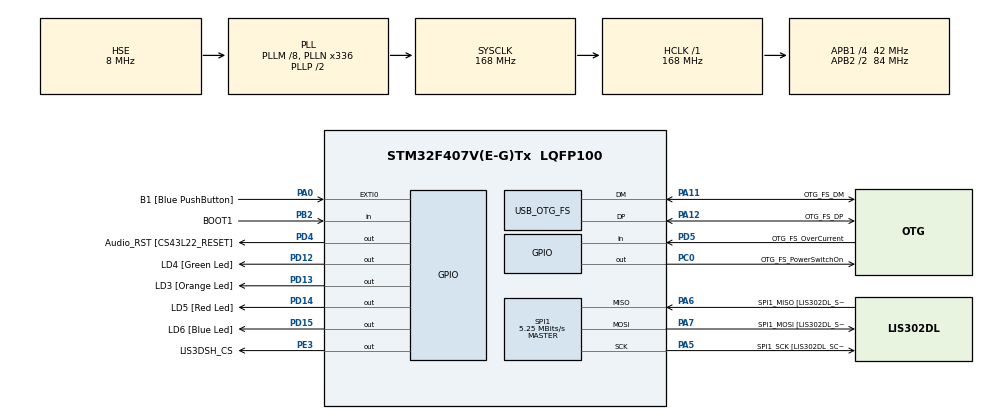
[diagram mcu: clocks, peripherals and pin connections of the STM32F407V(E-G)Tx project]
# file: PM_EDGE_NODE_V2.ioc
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Mcu.Family=STM32F4
Mcu.Name=STM32F407V(E-G)Tx
Mcu.Package=LQFP100
NVIC.OTG_FS_IRQn=true\:0\:0\:false\:false\:true\:false\:true\:true
NVIC.PriorityGroup=NVIC_PRIORITYGROUP_0
NVIC.TIM2_IRQn=true\:0\:0\:false\:false\:true\:true\:true\:true
PA0-WKUP.GPIO_Label=B1 [Blue PushButton]
PA0-WKUP.GPIO_ModeDefaultEXTI=GPIO_MODE_EVT_RISING
PA0-WKUP.GPIO_PuPd=GPIO_NOPULL
PA0-WKUP.Signal=GPXTI0
PA10.GPIO_Label=OTG_FS_ID
PA10.GPIO_Mode=GPIO_MODE_AF_PP
PA10.GPIO_PuPd=GPIO_NOPULL
PA10.GPIO_Speed=GPIO_SPEED_FREQ_LOW
PA10.Signal=USB_OTG_FS_ID
PA11.GPIO_Label=OTG_FS_DM
PA11.GPIO_Mode=GPIO_MODE_AF_PP
PA11.GPIO_PuPd=GPIO_NOPULL
PA11.GPIO_Speed=GPIO_SPEED_FREQ_LOW
PA11.Mode=Device_Only
PA11.Signal=USB_OTG_FS_DM
PA12.GPIO_Label=OTG_FS_DP
PA12.GPIO_Mode=GPIO_MODE_AF_PP
PA12.GPIO_PuPd=GPIO_NOPULL
PA12.GPIO_Speed=GPIO_SPEED_FREQ_LOW
PA12.Mode=Device_Only
PA12.Signal=USB_OTG_FS_DP
PA13.GPIO_Label=SWDIO
PA13.Mode=Serial_Wire
PA13.Signal=SYS_JTMS-SWDIO
PA14.GPIO_Label=SWCLK
PA14.Mode=Serial_Wire
PA14.Signal=SYS_JTCK-SWCLK
PA4.GPIO_Label=I2S3_WS [CS43L22_LRCK]
PA4.GPIO_Mode=GPIO_MODE_AF_PP
PA4.GPIO_PuPd=GPIO_NOPULL
PA4.GPIO_Speed=GPIO_SPEED_FREQ_LOW
PA4.Signal=I2S3_WS
PA5.GPIO_Label=SPI1_SCK [LIS302DL_SCL/SPC]
PA5.GPIO_Mode=GPIO_MODE_AF_PP
PA5.GPIO_PuPd=GPIO_NOPULL
PA5.GPIO_Speed=GPIO_SPEED_FREQ_LOW
PA5.Mode=Full_Duplex_Master
PA5.Signal=SPI1_SCK
PA6.GPIO_Label=SPI1_MISO [LIS302DL_SDO]
PA6.GPIO_Mode=GPIO_MODE_AF_PP
PA6.GPIO_PuPd=GPIO_NOPULL
PA6.GPIO_Speed=GPIO_SPEED_FREQ_LOW
PA6.Mode=Full_Duplex_Master
PA6.Signal=SPI1_MISO
PA7.GPIO_Label=SPI1_MOSI [LIS302DL_SDA/SDI/SDO]
PA7.GPIO_Mode=GPIO_MODE_AF_PP
PA7.GPIO_PuPd=GPIO_NOPULL
PA7.GPIO_Speed=GPIO_SPEED_FREQ_LOW
PA7.Mode=Full_Duplex_Master
PA7.Signal=SPI1_MOSI
PA9.GPIO_Label=VBUS_FS
PA9.GPIO_Mode=GPIO_MODE_INPUT
PA9.GPIO_PuPd=GPIO_NOPULL
PA9.Signal=USB_OTG_FS_VBUS
PB10.GPIO_Label=CLK_IN [MP45DT02_CLK]
PB10.GPIO_Mode=GPIO_MODE_AF_PP
PB10.GPIO_PuPd=GPIO_NOPULL
PB10.GPIO_Speed=GPIO_SPEED_FREQ_LOW
PB10.Signal=I2S2_CK
PB2.GPIO_Label=BOOT1
PB2.GPIO_Mode=GPIO_MODE_INPUT
PB2.GPIO_PuPd=GPIO_NOPULL
PB2.Signal=GPIO_Input
PB3.GPIO_Label=SWO
PB3.Signal=SYS_JTDO-SWO
PB6.GPIO_Label=Audio_SCL [CS43L22_SCL]
PB6.GPIO_Mode=GPIO_MODE_AF_OD
PB6.GPIO_Pu=GPIO_PULLUP
PB6.GPIO_PuPd=GPIO_NOPULL
PB6.GPIO_Speed=GPIO_SPEED_FREQ_LOW
PB6.Signal=I2C1_SCL
PB9.GPIO_Label=Audio_SDA [CS43L22_SDA]
PB9.GPIO_Mode=GPIO_MODE_AF_OD
PB9.GPIO_Pu=GPIO_PULLUP
PB9.GPIO_PuPd=GPIO_NOPULL
PB9.GPIO_Speed=GPIO_SPEED_FREQ_LOW
PB9.Signal=I2C1_SDA
PC0.GPIO_Label=OTG_FS_PowerSwitchOn
PC0.GPIO_PuPd=GPIO_NOPULL
PC0.GPIO_Speed=GPIO_SPEED_FREQ_LOW
PC0.PinState=GPIO_PIN_SET
PC0.Signal=GPIO_Output
PC10.GPIO_Label=I2S3_SCK [CS43L22_SCLK]
PC10.GPIO_Mode=GPIO_MODE_AF_PP
PC10.GPIO_PuPd=GPIO_NOPULL
PC10.GPIO_Speed=GPIO_SPEED_FREQ_LOW
PC10.Signal=I2S3_CK
PC12.GPIO_Label=I2S3_SD [CS43L22_SDIN]
PC12.GPIO_Mode=GPIO_MODE_AF_PP
PC12.GPIO_PuPd=GPIO_NOPULL
PC12.GPIO_Speed=GPIO_SPEED_FREQ_LOW
PC12.Signal=I2S3_SD
PC14-OSC32_IN.GPIO_Label=PC14-OSC32_IN
PC14-OSC32_IN.Mode=LSE-External-Oscillator
PC14-OSC32_IN.Signal=RCC_OSC32_IN
PC15-OSC32_OUT.GPIO_Label=PC15-OSC32_OUT
PC15-OSC32_OUT.Mode=LSE-External-Oscillator
PC15-OSC32_OUT.Signal=RCC_OSC32_OUT
PC3.GPIO_Label=PDM_OUT [MP45DT02_DOUT]
PC3.GPIO_Mode=GPIO_MODE_AF_PP
PC3.GPIO_PuPd=GPIO_NOPULL
PC3.GPIO_Speed=GPIO_SPEED_FREQ_LOW
PC3.Signal=I2S2_SD
PC7.GPIO_Label=I2S3_MCK [CS43L22_MCLK]
PC7.GPIO_Mode=GPIO_MODE_AF_PP
PC7.GPIO_PuPd=GPIO_NOPULL
PC7.GPIO_Speed=GPIO_SPEED_FREQ_LOW
PC7.Signal=I2S3_MCK
PD12.GPIO_Label=LD4 [Green Led]
PD12.GPIO_PuPd=GPIO_NOPULL
PD12.GPIO_Speed=GPIO_SPEED_FREQ_LOW
PD12.Signal=GPIO_Output
PD13.GPIO_Label=LD3 [Orange Led]
PD13.GPIO_PuPd=GPIO_NOPULL
PD13.GPIO_Speed=GPIO_SPEED_FREQ_LOW
PD13.Signal=GPIO_Output
PD14.GPIO_Label=LD5 [Red Led]
PD14.GPIO_PuPd=GPIO_NOPULL
PD14.GPIO_Speed=GPIO_SPEED_FREQ_LOW
PD14.Signal=GPIO_Output
PD15.GPIO_Label=LD6 [Blue Led]
PD15.GPIO_PuPd=GPIO_NOPULL
PD15.GPIO_Speed=GPIO_SPEED_FREQ_LOW
PD15.Signal=GPIO_Output
PD4.GPIO_Label=Audio_RST [CS43L22_RESET]
PD4.GPIO_PuPd=GPIO_NOPULL
PD4.GPIO_Speed=GPIO_SPEED_FREQ_LOW
PD4.Signal=GPIO_Output
PD5.GPIO_Label=OTG_FS_OverCurrent
PD5.GPIO_Mode=GPIO_MODE_INPUT
PD5.GPIO_PuPd=GPIO_NOPULL
PD5.Signal=GPIO_Input
PE3.GPIO_Label=LIS3DSH_CS
PE3.PinState=GPIO_PIN_SET
PE3.Signal=GPIO_Output
PH0-OSC_IN.GPIO_Label=PH0-OSC_IN
PH0-OSC_IN.Mode=HSE-External-Oscillator
PH0-OSC_IN.Signal=RCC_OSC_IN
PH1-OSC_OUT.GPIO_Label=PH1-OSC_OUT
PH1-OSC_OUT.Mode=HSE-External-Oscillator
PH1-OSC_OUT.Signal=RCC_OSC_OUT
ProjectManager.HeapSize=0x200
ProjectManager.StackSize=0x400
ProjectManager.TargetToolchain=STM32CubeIDE
RCC.48MHZClocksFreq_Value=48000000
RCC.AHBFreq_Value=168000000
RCC.APB1CLKDivider=RCC_HCLK_DIV4
RCC.APB1Freq_Value=42000000
RCC.APB1TimFreq_Value=84000000
RCC.APB2CLKDivider=RCC_HCLK_DIV2
RCC.APB2Freq_Value=84000000
RCC.APB2TimFreq_Value=168000000
RCC.CortexFreq_Value=168000000
RCC.HCLKFreq_Value=168000000
RCC.HSE_VALUE=8000000
RCC.HSI_VALUE=16000000
RCC.PLLM=8
RCC.PLLN=336
RCC.PLLQ=7
RCC.PLLSourceVirtual=RCC_PLLSOURCE_HSE
RCC.SYSCLKFreq_VALUE=168000000
RCC.SYSCLKSource=RCC_SYSCLKSOURCE_PLLCLK
RCC.VCOOutputFreq_Value=336000000
SPI1.BaudRatePrescaler=SPI_BAUDRATEPRESCALER_16
SPI1.BaudRatePrescaler-Full_Duplex_Master=SPI_BAUDRATEPRESCALER_2
SPI1.CalculateBaudRate=5.25 MBits/s
SPI1.CalculateBaudRate-Full_Duplex_Master=42.0 MBits/s
SPI1.Direction=SPI_DIRECTION_2LINES
SPI1.Mode=SPI_MODE_MASTER
SPI1.Mode-Full_Duplex_Master=SPI_MODE_MASTER
SPI1.VirtualType=VM_MASTER
TIM2.Period=1249
TIM2.Prescaler=83
USB_DEVICE.CLASS_NAME_FS=CDC
USB_DEVICE.VirtualMode-CDC_FS=Cdc
USB_DEVICE.VirtualModeFS=Cdc_FS
USB_OTG_FS.VirtualMode=Device_Only
VP_TIM2_VS_ClockSourceINT.Mode=Internal
VP_USB_DEVICE_VS_USB_DEVICE_CDC_FS.Mode=CDC_FS
board=STM32F407G-DISC1

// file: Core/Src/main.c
/* USER CODE BEGIN Header */
/**
  ******************************************************************************
  * @file           : main.c
  * @brief          : PM Edge Node V2 - real-time vibration fault classification
  *                   on STM32F407G-DISC1.
  *
  * Pipeline:
  *   TIM2 @ 800 Hz -> LIS3DSH (SPI1) -> 1024-sample double-buffered window
  *   -> 51 time/frequency features -> Random Forest (150 trees, 6 classes)
  *   -> result + raw window streamed over USB CDC (virtual COM port).
  ******************************************************************************
  */
/* USER CODE END Header */
#include "main.h"
#include "usb_device.h"

/* USER CODE BEGIN Includes */
#include <stdio.h>
#include <string.h>

#include "lis3dsh_driver.h"
#include "sampling.h"
#include "pm_inference.h"
#include "usbd_def.h"
#include "usbd_cdc.h"
#include "usbd_cdc_if.h"
/* USER CODE END Includes */

/* USER CODE BEGIN PD */
#define USB_TX_TIMEOUT_MS   3000U
#define USB_MSG_SIZE        128U
/* USER CODE END PD */

SPI_HandleTypeDef hspi1;

TIM_HandleTypeDef htim2;

/* USER CODE BEGIN PV */
/* USB device handle is defined in USB_DEVICE/App/usb_device.c. */
extern USBD_HandleTypeDef hUsbDeviceFS;

/* Static buffers: keeps the large arrays off the Cortex-M4 stack. */
static int16_t ai_xyz[PM_WINDOW * 3];
static float   ai_features[PM_FEATURE_COUNT];
static float   ai_probabilities[PM_CLASS_COUNT];

static uint32_t ai_window_counter  = 0U;
static uint32_t ai_inference_ms    = 0U;
static int      ai_last_prediction = -1;
static int      ai_last_status     = -1;

static LIS3DSH_Status_t        sensor_status;
static const SamplingWindow_t *ready_window = NULL;
static SamplingStats_t         sampling_stats;
static char                    usb_message[USB_MSG_SIZE];
/* USER CODE END PV */

void SystemClock_Config(void);
static void MX_GPIO_Init(void);
static void MX_SPI1_Init(void);
static void MX_TIM2_Init(void);
/* USER CODE BEGIN PFP */
static int USB_SendText(const char *text, uint32_t timeout_ms);
static int AI_RunWindow(const SamplingWindow_t *window);
static void Report_Window(void);
/* USER CODE END PFP */

/* USER CODE BEGIN 0 */

/**
  * @brief  Send a NUL-terminated string over USB CDC with a bounded wait.
  *         Waits until the transfer has completed so the caller may reuse
  *         the buffer. Never blocks forever if the host disconnects.
  * @note   Call from main context only, never from an interrupt.
  * @retval 0 on success, -1 on error/timeout.
  */
static int USB_SendText(const char *text, uint32_t timeout_ms)
{
  if (text == NULL)
  {
    return -1;
  }

  size_t n = strlen(text);
  if ((n == 0U) || (n > 0xFFFFU))
  {
    return -1;
  }

  uint32_t started = HAL_GetTick();
  uint8_t status;

  do
  {
    status = CDC_Transmit_FS((uint8_t *)text, (uint16_t)n);
    if (status == USBD_OK)
    {
      break;
    }
    if (status != USBD_BUSY)
    {
      return -1;
    }
    HAL_Delay(1U);
  } while ((uint32_t)(HAL_GetTick() - started) < timeout_ms);

  if (status != USBD_OK)
  {
    return -1;
  }

  /* CDC_Transmit_FS is asynchronous: wait until the IN transfer is done. */
  while ((uint32_t)(HAL_GetTick() - started) < timeout_ms)
  {
    if (hUsbDeviceFS.pClassData == NULL)
    {
      return -1;
    }

    const USBD_CDC_HandleTypeDef *cdc =
        (const USBD_CDC_HandleTypeDef *)hUsbDeviceFS.pClassData;
    if (cdc->TxState == 0U)
    {
      return 0;
    }
    HAL_Delay(1U);
  }

  return -1;
}

/**
  * @brief  Run feature extraction + Random Forest on one window.
  *         Samples are interleaved [x0,y0,z0,x1,...] exactly as in Python.
  * @retval Predicted class index (0..PM_CLASS_COUNT-1) or -1 on error.
  */
static int AI_RunWindow(const SamplingWindow_t *window)
{
  if (window == NULL)
  {
    return -1;
  }

  for (uint32_t i = 0U; i < PM_WINDOW; ++i)
  {
    ai_xyz[(3U * i) + 0U] = window->x[i];
    ai_xyz[(3U * i) + 1U] = window->y[i];
    ai_xyz[(3U * i) + 2U] = window->z[i];
  }

  if (pm_extract_features(ai_xyz, ai_features) != 0)
  {
    return -1;
  }

  int prediction = pm_predict_rf(ai_features, ai_probabilities);
  if ((prediction < 0) || (prediction >= PM_CLASS_COUNT))
  {
    return -1;
  }

  ai_window_counter++;
  return prediction;
}

/**
  * @brief  Stream the ready window and the inference result over USB CDC.
  *
  * Output format (parsed by the Python collector):
  *   WINDOW <n> | samples=1024 | missed=<m> | dropped=<d>
  *   <index>,<x>,<y>,<z>          (1024 lines, raw LIS3DSH counts)
  *   AI_RESULT window=<n> class=1.<c> inference_ms=<t>
  *   or AI_ERROR window=<n> inference_ms=<t>
  */
static void Report_Window(void)
{
  int length;
  int usb_ok;

  Sampling_GetStats(&sampling_stats);

  length = snprintf(usb_message, sizeof(usb_message),
                    "\r\nWINDOW %lu | samples=%lu | missed=%lu | dropped=%lu\r\n",
                    (unsigned long)sampling_stats.completed_windows,
                    (unsigned long)SAMPLING_WINDOW_SIZE,
                    (unsigned long)sampling_stats.missed_samples,
                    (unsigned long)sampling_stats.dropped_windows);

  usb_ok = ((length > 0) && ((size_t)length < sizeof(usb_message)))
               ? USB_SendText(usb_message, USB_TX_TIMEOUT_MS)
               : -1;

  if (usb_ok == 0)
  {
    for (uint32_t i = 0U; i < SAMPLING_WINDOW_SIZE; ++i)
    {
      length = snprintf(usb_message, sizeof(usb_message),
                        "%lu,%d,%d,%d\r\n",
                        (unsigned long)i,
                        (int)ready_window->x[i],
                        (int)ready_window->y[i],
                        (int)ready_window->z[i]);

      if ((length <= 0) || ((size_t)length >= sizeof(usb_message)) ||
          (USB_SendText(usb_message, USB_TX_TIMEOUT_MS) != 0))
      {
        usb_ok = -1;
        break;
      }
    }
  }

  /* Metadata line is sent separately, never between indexed CSV rows. */
  if (usb_ok == 0)
  {
    if (ai_last_status == 0)
    {
      length = snprintf(usb_message, sizeof(usb_message),
                        "AI_RESULT window=%lu class=1.%d inference_ms=%lu\r\n",
                        (unsigned long)sampling_stats.completed_windows,
                        ai_last_prediction + 1,
                        (unsigned long)ai_inference_ms);
    }
    else
    {
      length = snprintf(usb_message, sizeof(usb_message),
                        "AI_ERROR window=%lu inference_ms=%lu\r\n",
                        (unsigned long)sampling_stats.completed_windows,
                        (unsigned long)ai_inference_ms);
    }

    if ((length > 0) && ((size_t)length < sizeof(usb_message)))
    {
      (void)USB_SendText(usb_message, USB_TX_TIMEOUT_MS);
    }
  }
}

/* USER CODE END 0 */

int main(void)
{

  /* MCU Configuration--------------------------------------------------------*/

  /* Reset of all peripherals, Initializes the Flash interface and the Systick. */
  HAL_Init();

  /* Configure the system clock */
  SystemClock_Config();

  /* Initialize all configured peripherals */
  MX_GPIO_Init();
  MX_SPI1_Init();
  MX_TIM2_Init();
  MX_USB_DEVICE_Init();
  /* USER CODE BEGIN 2 */
  sensor_status = LIS3DSH_Init(&hspi1);
  if (sensor_status != LIS3DSH_STATUS_OK)
  {
    Error_Handler();
  }

  Sampling_Init();

  if (HAL_TIM_Base_Start_IT(&htim2) != HAL_OK)
  {
    Error_Handler();
  }
  /* USER CODE END 2 */

  /* Infinite loop */
  /* USER CODE BEGIN WHILE */
  while (1)
  {
    Sampling_Process();

    ready_window = Sampling_GetReadyWindow();
    if (ready_window != NULL)
    {
      /* Sampling is paused while the reference DFT and USB transfer run. */
      if (HAL_TIM_Base_Stop_IT(&htim2) != HAL_OK)
      {
        Error_Handler();
      }

      uint32_t ai_started = HAL_GetTick();
      ai_last_prediction = AI_RunWindow(ready_window);
      ai_inference_ms = (uint32_t)(HAL_GetTick() - ai_started);
      ai_last_status = (ai_last_prediction >= 0) ? 0 : -1;

      Report_Window();

      Sampling_ReleaseWindow();

      if (HAL_TIM_Base_Start_IT(&htim2) != HAL_OK)
      {
        Error_Handler();
      }
    }
    /* USER CODE END WHILE */

  }
}

void SystemClock_Config(void)
{
  RCC_OscInitTypeDef RCC_OscInitStruct = {0};
  RCC_ClkInitTypeDef RCC_ClkInitStruct = {0};

  /** Configure the main internal regulator output voltage
  */
  __HAL_RCC_PWR_CLK_ENABLE();
  __HAL_PWR_VOLTAGESCALING_CONFIG(PWR_REGULATOR_VOLTAGE_SCALE1);

  /** Initializes the RCC Oscillators according to the specified parameters
  * in the RCC_OscInitTypeDef structure.
  */
  RCC_OscInitStruct.OscillatorType = RCC_OSCILLATORTYPE_HSE;
  RCC_OscInitStruct.HSEState = RCC_HSE_ON;
  RCC_OscInitStruct.PLL.PLLState = RCC_PLL_ON;
  RCC_OscInitStruct.PLL.PLLSource = RCC_PLLSOURCE_HSE;
  RCC_OscInitStruct.PLL.PLLM = 8;
  RCC_OscInitStruct.PLL.PLLN = 336;
  RCC_OscInitStruct.PLL.PLLP = RCC_PLLP_DIV2;
  RCC_OscInitStruct.PLL.PLLQ = 7;
  if (HAL_RCC_OscConfig(&RCC_OscInitStruct) != HAL_OK)
  {
    Error_Handler();
  }

  /** Initializes the CPU, AHB and APB buses clocks
  */
  RCC_ClkInitStruct.ClockType = RCC_CLOCKTYPE_HCLK | RCC_CLOCKTYPE_SYSCLK
                              | RCC_CLOCKTYPE_PCLK1 | RCC_CLOCKTYPE_PCLK2;
  RCC_ClkInitStruct.SYSCLKSource = RCC_SYSCLKSOURCE_PLLCLK;
  RCC_ClkInitStruct.AHBCLKDivider = RCC_SYSCLK_DIV1;
  RCC_ClkInitStruct.APB1CLKDivider = RCC_HCLK_DIV4;
  RCC_ClkInitStruct.APB2CLKDivider = RCC_HCLK_DIV2;

  if (HAL_RCC_ClockConfig(&RCC_ClkInitStruct, FLASH_LATENCY_5) != HAL_OK)
  {
    Error_Handler();
  }
}

static void MX_SPI1_Init(void)
{

  /* SPI1 parameter configuration*/
  hspi1.Instance = SPI1;
  hspi1.Init.Mode = SPI_MODE_MASTER;
  hspi1.Init.Direction = SPI_DIRECTION_2LINES;
  hspi1.Init.DataSize = SPI_DATASIZE_8BIT;
  hspi1.Init.CLKPolarity = SPI_POLARITY_LOW;
  hspi1.Init.CLKPhase = SPI_PHASE_1EDGE;
  hspi1.Init.NSS = SPI_NSS_SOFT;
  hspi1.Init.BaudRatePrescaler = SPI_BAUDRATEPRESCALER_16;
  hspi1.Init.FirstBit = SPI_FIRSTBIT_MSB;
  hspi1.Init.TIMode = SPI_TIMODE_DISABLE;
  hspi1.Init.CRCCalculation = SPI_CRCCALCULATION_DISABLE;
  hspi1.Init.CRCPolynomial = 10;
  if (HAL_SPI_Init(&hspi1) != HAL_OK)
  {
    Error_Handler();
  }

}

static void MX_TIM2_Init(void)
{

  TIM_ClockConfigTypeDef sClockSourceConfig = {0};
  TIM_MasterConfigTypeDef sMasterConfig = {0};

  htim2.Instance = TIM2;
  htim2.Init.Prescaler = 83;
  htim2.Init.CounterMode = TIM_COUNTERMODE_UP;
  htim2.Init.Period = 1249;
  htim2.Init.ClockDivision = TIM_CLOCKDIVISION_DIV1;
  htim2.Init.AutoReloadPreload = TIM_AUTORELOAD_PRELOAD_DISABLE;
  if (HAL_TIM_Base_Init(&htim2) != HAL_OK)
  {
    Error_Handler();
  }
  sClockSourceConfig.ClockSource = TIM_CLOCKSOURCE_INTERNAL;
  if (HAL_TIM_ConfigClockSource(&htim2, &sClockSourceConfig) != HAL_OK)
  {
    Error_Handler();
  }
  sMasterConfig.MasterOutputTrigger = TIM_TRGO_RESET;
  sMasterConfig.MasterSlaveMode = TIM_MASTERSLAVEMODE_DISABLE;
  if (HAL_TIMEx_MasterConfigSynchronization(&htim2, &sMasterConfig) != HAL_OK)
  {
    Error_Handler();
  }

}

static void MX_GPIO_Init(void)
{
  GPIO_InitTypeDef GPIO_InitStruct = {0};

  /* GPIO Ports Clock Enable */
  __HAL_RCC_GPIOE_CLK_ENABLE();
  __HAL_RCC_GPIOC_CLK_ENABLE();
  __HAL_RCC_GPIOH_CLK_ENABLE();
  __HAL_RCC_GPIOA_CLK_ENABLE();
  __HAL_RCC_GPIOB_CLK_ENABLE();
  __HAL_RCC_GPIOD_CLK_ENABLE();

  /*Configure GPIO pin Output Level (LIS3DSH CS idles high) */
  HAL_GPIO_WritePin(LIS3DSH_CS_GPIO_Port, LIS3DSH_CS_Pin, GPIO_PIN_SET);

  /*Configure GPIO pin Output Level */
  HAL_GPIO_WritePin(OTG_FS_PowerSwitchOn_GPIO_Port, OTG_FS_PowerSwitchOn_Pin, GPIO_PIN_SET);

  /*Configure GPIO pin Output Level */
  HAL_GPIO_WritePin(GPIOD, LD4_Pin|LD3_Pin|LD5_Pin|LD6_Pin
                          |Audio_RST_Pin, GPIO_PIN_RESET);

  /*Configure GPIO pin : LIS3DSH_CS_Pin */
  GPIO_InitStruct.Pin = LIS3DSH_CS_Pin;
  GPIO_InitStruct.Mode = GPIO_MODE_OUTPUT_PP;
  GPIO_InitStruct.Pull = GPIO_NOPULL;
  GPIO_InitStruct.Speed = GPIO_SPEED_FREQ_LOW;
  HAL_GPIO_Init(LIS3DSH_CS_GPIO_Port, &GPIO_InitStruct);

  /*Configure GPIO pin : OTG_FS_PowerSwitchOn_Pin */
  GPIO_InitStruct.Pin = OTG_FS_PowerSwitchOn_Pin;
  GPIO_InitStruct.Mode = GPIO_MODE_OUTPUT_PP;
  GPIO_InitStruct.Pull = GPIO_NOPULL;
  GPIO_InitStruct.Speed = GPIO_SPEED_FREQ_LOW;
  HAL_GPIO_Init(OTG_FS_PowerSwitchOn_GPIO_Port, &GPIO_InitStruct);

  /*Configure GPIO pin : PDM_OUT_Pin */
  GPIO_InitStruct.Pin = PDM_OUT_Pin;
  GPIO_InitStruct.Mode = GPIO_MODE_AF_PP;
  GPIO_InitStruct.Pull = GPIO_NOPULL;
  GPIO_InitStruct.Speed = GPIO_SPEED_FREQ_LOW;
  GPIO_InitStruct.Alternate = GPIO_AF5_SPI2;
  HAL_GPIO_Init(PDM_OUT_GPIO_Port, &GPIO_InitStruct);

  /*Configure GPIO pin : B1_Pin */
  GPIO_InitStruct.Pin = B1_Pin;
  GPIO_InitStruct.Mode = GPIO_MODE_EVT_RISING;
  GPIO_InitStruct.Pull = GPIO_NOPULL;
  HAL_GPIO_Init(B1_GPIO_Port, &GPIO_InitStruct);

  /*Configure GPIO pin : I2S3_WS_Pin */
  GPIO_InitStruct.Pin = I2S3_WS_Pin;
  GPIO_InitStruct.Mode = GPIO_MODE_AF_PP;
  GPIO_InitStruct.Pull = GPIO_NOPULL;
  GPIO_InitStruct.Speed = GPIO_SPEED_FREQ_LOW;
  GPIO_InitStruct.Alternate = GPIO_AF6_SPI3;
  HAL_GPIO_Init(I2S3_WS_GPIO_Port, &GPIO_InitStruct);

  /*Configure GPIO pin : BOOT1_Pin */
  GPIO_InitStruct.Pin = BOOT1_Pin;
  GPIO_InitStruct.Mode = GPIO_MODE_INPUT;
  GPIO_InitStruct.Pull = GPIO_NOPULL;
  HAL_GPIO_Init(BOOT1_GPIO_Port, &GPIO_InitStruct);

  /*Configure GPIO pin : CLK_IN_Pin */
  GPIO_InitStruct.Pin = CLK_IN_Pin;
  GPIO_InitStruct.Mode = GPIO_MODE_AF_PP;
  GPIO_InitStruct.Pull = GPIO_NOPULL;
  GPIO_InitStruct.Speed = GPIO_SPEED_FREQ_LOW;
  GPIO_InitStruct.Alternate = GPIO_AF5_SPI2;
  HAL_GPIO_Init(CLK_IN_GPIO_Port, &GPIO_InitStruct);

  /*Configure GPIO pins : LD4_Pin LD3_Pin LD5_Pin LD6_Pin
                           Audio_RST_Pin */
  GPIO_InitStruct.Pin = LD4_Pin|LD3_Pin|LD5_Pin|LD6_Pin
                          |Audio_RST_Pin;
  GPIO_InitStruct.Mode = GPIO_MODE_OUTPUT_PP;
  GPIO_InitStruct.Pull = GPIO_NOPULL;
  GPIO_InitStruct.Speed = GPIO_SPEED_FREQ_LOW;
  HAL_GPIO_Init(GPIOD, &GPIO_InitStruct);

  /*Configure GPIO pins : I2S3_MCK_Pin I2S3_SCK_Pin I2S3_SD_Pin */
  GPIO_InitStruct.Pin = I2S3_MCK_Pin|I2S3_SCK_Pin|I2S3_SD_Pin;
  GPIO_InitStruct.Mode = GPIO_MODE_AF_PP;
  GPIO_InitStruct.Pull = GPIO_NOPULL;
  GPIO_InitStruct.Speed = GPIO_SPEED_FREQ_LOW;
  GPIO_InitStruct.Alternate = GPIO_AF6_SPI3;
  HAL_GPIO_Init(GPIOC, &GPIO_InitStruct);

  /*Configure GPIO pin : OTG_FS_OverCurrent_Pin */
  GPIO_InitStruct.Pin = OTG_FS_OverCurrent_Pin;
  GPIO_InitStruct.Mode = GPIO_MODE_INPUT;
  GPIO_InitStruct.Pull = GPIO_NOPULL;
  HAL_GPIO_Init(OTG_FS_OverCurrent_GPIO_Port, &GPIO_InitStruct);

  /*Configure GPIO pins : Audio_SCL_Pin Audio_SDA_Pin */
  GPIO_InitStruct.Pin = Audio_SCL_Pin|Audio_SDA_Pin;
  GPIO_InitStruct.Mode = GPIO_MODE_AF_OD;
  GPIO_InitStruct.Pull = GPIO_PULLUP;
  GPIO_InitStruct.Speed = GPIO_SPEED_FREQ_LOW;
  GPIO_InitStruct.Alternate = GPIO_AF4_I2C1;
  HAL_GPIO_Init(GPIOB, &GPIO_InitStruct);

}

/* USER CODE BEGIN 4 */

/**
  * @brief  TIM2 update callback: 800 Hz sampling tick.
  */
void HAL_TIM_PeriodElapsedCallback(TIM_HandleTypeDef *htim)
{
  if (htim->Instance == TIM2)
  {
    Sampling_TimerTickISR();
  }
}

/* USER CODE END 4 */

void Error_Handler(void)
{
  __disable_irq();
  while (1)
  {
  }
}

#ifdef  USE_FULL_ASSERT
/**
  * @brief  Reports the name of the source file and the source line number
  *         where the assert_param error has occurred.
  * @param  file: pointer to the source file name
  * @param  line: assert_param error line source number
  * @retval None
  */
void assert_failed(uint8_t *file, uint32_t line)
{
  /* USER CODE BEGIN 6 */
  (void)file;
  (void)line;
  /* USER CODE END 6 */
}
#endif /* USE_FULL_ASSERT */
